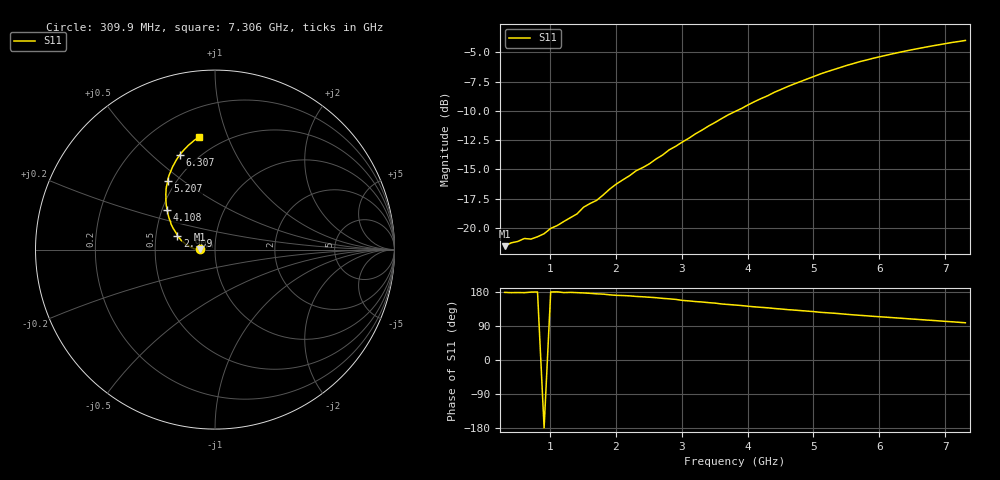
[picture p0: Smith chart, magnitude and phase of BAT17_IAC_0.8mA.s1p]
! Infineon Technologies  Discrete & RF Semiconductors
! BAT17
! IAC = 0.8 mA
! One-Port S-Parameters
# Hz  S  MA  R  50
!f  S11
!Hz  Mag  Ang
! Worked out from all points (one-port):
!   71 points, 309.9 MHz to 7.306 GHz, reference 50 ohm
!   lowest |S11| = -21.6 dB at 309.9 MHz (marker M1), VSWR 1.18, Z = 42.3 + j0.193 ohm
!   |S11| at or under -10 dB: start of sweep to 3.832 GHz
!   S11 on the Smith chart (normalised r, x): 309.9 MHz: 0.85, +0.00; 2.909 GHz: 0.65, +0.10; 4.108 GHz: 0.53, +0.27; 5.207 GHz: 0.45, +0.44; 6.307 GHz: 0.40, +0.62; 7.306 GHz: 0.38, +0.79
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3.0985e8  0.08354 178.4
4.098e8  0.08633 177.7
5.0975e8  0.08751 178.0
6.097e8  0.09009 177.7
7.0965e8  0.08956 179.1
8.096e8  0.09165 179.5
9.0955e8  0.09443 -179.2
1.0095e9  0.0995 179.6
1.2094e9  0.1065 177.9
1.4093e9  0.1147 177.8
1.50925e9  0.1226 176.9
1.70915e9  0.1312 174.6
1.90905e9  0.1467 171.9
2.10895e9  0.1606 170.1
2.30885e9  0.1756 167.7
2.6087e9  0.1968 164.5
2.90855e9  0.2231 159.9
3.0085e9  0.2326 157.2
3.30835e9  0.2617 153.1
3.8081e9  0.3139 145.1
4.10795e9  0.3464 140.3
4.70765e9  0.4119 131.7
5.2074e9  0.4646 124.7
5.6072e9  0.5035 119.1
6.30685e9  0.5622 110.5
6.50675e9  0.5774 108.0
6.8066e9  0.5988 104.5
7.30635e9  0.6316 98.2
